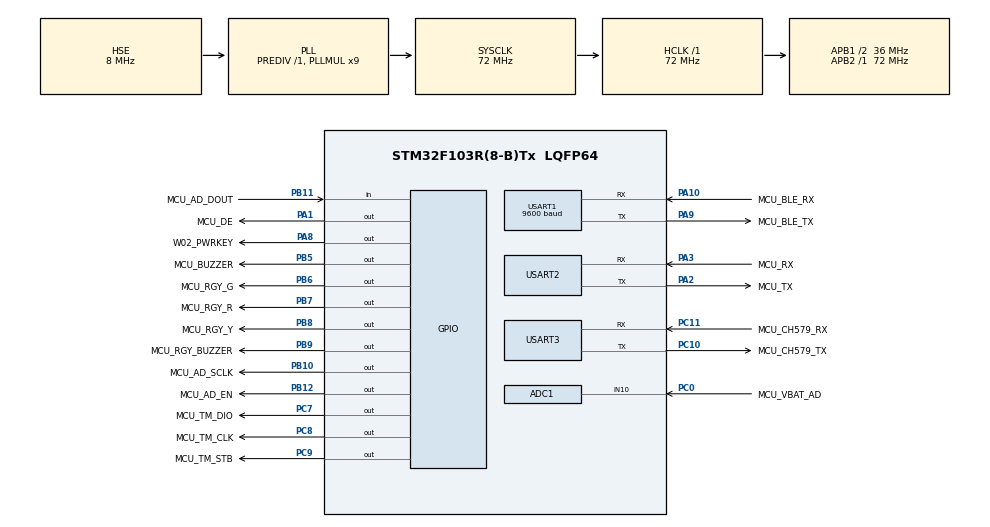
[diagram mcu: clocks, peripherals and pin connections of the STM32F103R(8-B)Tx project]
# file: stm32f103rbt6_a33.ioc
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ADC1.Channel-0\#ChannelRegularConversion=ADC_CHANNEL_10
ADC1.NbrOfConversionFlag=1
ADC1.Rank-0\#ChannelRegularConversion=1
ADC1.SamplingTime-0\#ChannelRegularConversion=ADC_SAMPLETIME_239CYCLES_5
ADC1.master=1
Dma.Request0=USART2_RX
Dma.Request1=USART2_TX
Dma.Request2=USART3_RX
Dma.Request3=USART3_TX
Dma.USART2_RX.0.Direction=DMA_PERIPH_TO_MEMORY
Dma.USART2_RX.0.Instance=DMA1_Channel6
Dma.USART2_RX.0.MemDataAlignment=DMA_MDATAALIGN_BYTE
Dma.USART2_RX.0.MemInc=DMA_MINC_ENABLE
Dma.USART2_RX.0.Mode=DMA_CIRCULAR
Dma.USART2_RX.0.PeriphDataAlignment=DMA_PDATAALIGN_BYTE
Dma.USART2_RX.0.PeriphInc=DMA_PINC_DISABLE
Dma.USART2_RX.0.Priority=DMA_PRIORITY_HIGH
Dma.USART2_TX.1.Direction=DMA_MEMORY_TO_PERIPH
Dma.USART2_TX.1.Instance=DMA1_Channel7
Dma.USART2_TX.1.MemDataAlignment=DMA_MDATAALIGN_BYTE
Dma.USART2_TX.1.MemInc=DMA_MINC_ENABLE
Dma.USART2_TX.1.Mode=DMA_NORMAL
Dma.USART2_TX.1.PeriphDataAlignment=DMA_PDATAALIGN_BYTE
Dma.USART2_TX.1.PeriphInc=DMA_PINC_DISABLE
Dma.USART2_TX.1.Priority=DMA_PRIORITY_MEDIUM
Dma.USART3_RX.2.Direction=DMA_PERIPH_TO_MEMORY
Dma.USART3_RX.2.Instance=DMA1_Channel3
Dma.USART3_RX.2.MemDataAlignment=DMA_MDATAALIGN_BYTE
Dma.USART3_RX.2.MemInc=DMA_MINC_ENABLE
Dma.USART3_RX.2.Mode=DMA_CIRCULAR
Dma.USART3_RX.2.PeriphDataAlignment=DMA_PDATAALIGN_BYTE
Dma.USART3_RX.2.PeriphInc=DMA_PINC_DISABLE
Dma.USART3_RX.2.Priority=DMA_PRIORITY_HIGH
Dma.USART3_TX.3.Direction=DMA_MEMORY_TO_PERIPH
Dma.USART3_TX.3.Instance=DMA1_Channel2
Dma.USART3_TX.3.MemDataAlignment=DMA_MDATAALIGN_BYTE
Dma.USART3_TX.3.MemInc=DMA_MINC_ENABLE
Dma.USART3_TX.3.Mode=DMA_NORMAL
Dma.USART3_TX.3.PeriphDataAlignment=DMA_PDATAALIGN_BYTE
Dma.USART3_TX.3.PeriphInc=DMA_PINC_DISABLE
Dma.USART3_TX.3.Priority=DMA_PRIORITY_MEDIUM
Mcu.Family=STM32F1
Mcu.Name=STM32F103R(8-B)Tx
Mcu.Package=LQFP64
NVIC.DMA1_Channel2_IRQn=true\:5\:0\:true\:false\:true\:false\:true\:true
NVIC.DMA1_Channel3_IRQn=true\:5\:0\:true\:false\:true\:false\:true\:true
NVIC.DMA1_Channel6_IRQn=true\:5\:0\:true\:false\:true\:false\:true\:true
NVIC.DMA1_Channel7_IRQn=true\:5\:0\:true\:false\:true\:false\:true\:true
NVIC.PriorityGroup=NVIC_PRIORITYGROUP_4
NVIC.TIM4_IRQn=true\:5\:0\:true\:false\:true\:true\:true\:true
NVIC.USART2_IRQn=true\:5\:0\:true\:false\:true\:true\:true\:true
NVIC.USART3_IRQn=true\:5\:0\:true\:false\:true\:true\:true\:true
PA1.GPIO_Label=MCU_DE
PA1.GPIO_PuPd=GPIO_NOPULL
PA1.GPIO_Speed=GPIO_SPEED_FREQ_LOW
PA1.PinState=GPIO_PIN_RESET
PA1.Signal=GPIO_Output
PA10.GPIO_Label=MCU_BLE_RX
PA10.Mode=Asynchronous
PA10.Signal=USART1_RX
PA13.Mode=Serial_Wire
PA13.Signal=SYS_JTMS-SWDIO
PA14.Mode=Serial_Wire
PA14.Signal=SYS_JTCK-SWCLK
PA2.GPIO_Label=MCU_TX
PA2.Mode=Asynchronous
PA2.Signal=USART2_TX
PA3.GPIO_Label=MCU_RX
PA3.Mode=Asynchronous
PA3.Signal=USART2_RX
PA8.GPIO_Label=W02_PWRKEY
PA8.GPIO_ModeDefaultOutputPP=GPIO_MODE_OUTPUT_OD
PA8.GPIO_PuPd=GPIO_NOPULL
PA8.GPIO_Speed=GPIO_SPEED_FREQ_LOW
PA8.PinState=GPIO_PIN_SET
PA8.Signal=GPIO_Output
PA9.GPIO_Label=MCU_BLE_TX
PA9.Mode=Asynchronous
PA9.Signal=USART1_TX
PB10.GPIO_Label=MCU_AD_SCLK
PB10.GPIO_ModeDefaultOutputPP=GPIO_MODE_OUTPUT_OD
PB10.GPIO_PuPd=GPIO_NOPULL
PB10.GPIO_Speed=GPIO_SPEED_FREQ_LOW
PB10.PinState=GPIO_PIN_RESET
PB10.Signal=GPIO_Output
PB11.GPIO_Label=MCU_AD_DOUT
PB11.GPIO_PuPd=GPIO_NOPULL
PB11.Signal=GPIO_Input
PB12.GPIO_Label=MCU_AD_EN
PB12.GPIO_PuPd=GPIO_NOPULL
PB12.GPIO_Speed=GPIO_SPEED_FREQ_LOW
PB12.PinState=GPIO_PIN_RESET
PB12.Signal=GPIO_Output
PB5.GPIO_Label=MCU_BUZZER
PB5.GPIO_PuPd=GPIO_NOPULL
PB5.GPIO_Speed=GPIO_SPEED_FREQ_LOW
PB5.PinState=GPIO_PIN_RESET
PB5.Signal=GPIO_Output
PB6.GPIO_Label=MCU_RGY_G
PB6.GPIO_PuPd=GPIO_NOPULL
PB6.GPIO_Speed=GPIO_SPEED_FREQ_LOW
PB6.PinState=GPIO_PIN_RESET
PB6.Signal=GPIO_Output
PB7.GPIO_Label=MCU_RGY_R
PB7.GPIO_PuPd=GPIO_NOPULL
PB7.GPIO_Speed=GPIO_SPEED_FREQ_LOW
PB7.PinState=GPIO_PIN_RESET
PB7.Signal=GPIO_Output
PB8.GPIO_Label=MCU_RGY_Y
PB8.GPIO_PuPd=GPIO_NOPULL
PB8.GPIO_Speed=GPIO_SPEED_FREQ_LOW
PB8.PinState=GPIO_PIN_RESET
PB8.Signal=GPIO_Output
PB9.GPIO_Label=MCU_RGY_BUZZER
PB9.GPIO_PuPd=GPIO_NOPULL
PB9.GPIO_Speed=GPIO_SPEED_FREQ_LOW
PB9.PinState=GPIO_PIN_RESET
PB9.Signal=GPIO_Output
PC0.GPIO_Label=MCU_VBAT_AD
PC0.Signal=ADCx_IN10
PC10.GPIO_Label=MCU_CH579_TX
PC10.Mode=Asynchronous
PC10.Signal=USART3_TX
PC11.GPIO_Label=MCU_CH579_RX
PC11.Mode=Asynchronous
PC11.Signal=USART3_RX
PC7.GPIO_Label=MCU_TM_DIO
PC7.GPIO_ModeDefaultOutputPP=GPIO_MODE_OUTPUT_OD
PC7.GPIO_PuPd=GPIO_NOPULL
PC7.GPIO_Speed=GPIO_SPEED_FREQ_LOW
PC7.PinState=GPIO_PIN_SET
PC7.Signal=GPIO_Output
PC8.GPIO_Label=MCU_TM_CLK
PC8.GPIO_ModeDefaultOutputPP=GPIO_MODE_OUTPUT_OD
PC8.GPIO_PuPd=GPIO_NOPULL
PC8.GPIO_Speed=GPIO_SPEED_FREQ_LOW
PC8.PinState=GPIO_PIN_SET
PC8.Signal=GPIO_Output
PC9.GPIO_Label=MCU_TM_STB
PC9.GPIO_ModeDefaultOutputPP=GPIO_MODE_OUTPUT_OD
PC9.GPIO_PuPd=GPIO_NOPULL
PC9.GPIO_Speed=GPIO_SPEED_FREQ_LOW
PC9.PinState=GPIO_PIN_SET
PC9.Signal=GPIO_Output
PD0-OSC_IN.Mode=HSE-External-Oscillator
PD0-OSC_IN.Signal=RCC_OSC_IN
PD1-OSC_OUT.Mode=HSE-External-Oscillator
PD1-OSC_OUT.Signal=RCC_OSC_OUT
ProjectManager.HeapSize=0x200
ProjectManager.StackSize=0x400
ProjectManager.TargetToolchain=CMake
RCC.ADCPresc=RCC_ADCPCLK2_DIV6
RCC.AHBFreq_Value=72000000
RCC.APB1CLKDivider=RCC_HCLK_DIV2
RCC.APB1Freq_Value=36000000
RCC.APB1TimFreq_Value=72000000
RCC.APB2Freq_Value=72000000
RCC.APB2TimFreq_Value=72000000
RCC.HCLKFreq_Value=72000000
RCC.PLLMUL=RCC_PLL_MUL9
RCC.PLLSourceVirtual=RCC_PLLSOURCE_HSE
RCC.SYSCLKFreq_VALUE=72000000
RCC.SYSCLKSource=RCC_SYSCLKSOURCE_PLLCLK
RCC.USBFreq_Value=72000000
SH.ADCx_IN10.0=ADC1_IN10,IN10
TIM4.Period=65535
TIM4.Prescaler=71
USART1.BaudRate=9600
USART1.VirtualMode=VM_ASYNC
USART2.VirtualMode=VM_ASYNC
USART3.VirtualMode=VM_ASYNC
VP_TIM4_VS_ClockSourceINT.Mode=Internal
board=custom

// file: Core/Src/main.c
/* USER CODE BEGIN Header */
/**
  ******************************************************************************
  * @file           : main.c
  * @brief          : Main program body
  ******************************************************************************
  * @attention
  *
  * Copyright (c) 2026 STMicroelectronics.
  * All rights reserved.
  *
  * This software is licensed under terms that can be found in the LICENSE file
  * in the root directory of this software component.
  * If no LICENSE file comes with this software, it is provided AS-IS.
  *
  ******************************************************************************
  */
/* USER CODE END Header */
#include "main.h"
#include "adc.h"
#include "dma.h"
#include "tim.h"
#include "usart.h"
#include "gpio.h"

/* USER CODE BEGIN Includes */
#include "app_main.h"
#if (A33_ENABLE_STAGE5PA13DR_RESOURCES != 0U)
#include "stage5pa13dr_stats.h"
#elif (A33_ENABLE_STAGE5PA13D_RESOURCES != 0U)
#include "stage5pa13d_resources.h"
#endif

/* USER CODE END Includes */

void SystemClock_Config(void);

int main(void)
{

  /* MCU Configuration--------------------------------------------------------*/

  /* Reset of all peripherals, Initializes the Flash interface and the Systick. */
  HAL_Init();

  /* Configure the system clock */
  SystemClock_Config();

  /* USER CODE BEGIN SysInit */

  __HAL_FLASH_PREFETCH_BUFFER_ENABLE();

  /* USER CODE END SysInit */

  /* Initialize all configured peripherals */
  MX_GPIO_Init();
  MX_DMA_Init();
  MX_USART1_UART_Init();
  MX_USART2_UART_Init();
  MX_USART3_UART_Init();
  MX_ADC1_Init();
  MX_TIM4_Init();
  /* USER CODE BEGIN 2 */

  if (HAL_ADCEx_Calibration_Start(&hadc1) != HAL_OK)
  {
    Error_Handler();
  }

  if (!App_Init())
  {
    Error_Handler();
  }
#if (A33_ENABLE_STAGE5PA13DR_RESOURCES != 0U)
  if (!A13DR_Init()) Error_Handler();
  A13DR_PaintStack();
#elif (A33_ENABLE_STAGE5PA13D_RESOURCES != 0U)
  A13D_Init();
  A13D_PaintStack();
#endif

  /* USER CODE END 2 */

  /* Infinite loop */
  while (1)
  {

    /* USER CODE BEGIN 3 */
#if (A33_ENABLE_STAGE5PA13DR_RESOURCES != 0U)
    uint32_t a13dr_loop_start = A13DR_LoopBegin();
#elif (A33_ENABLE_STAGE5PA13D_RESOURCES != 0U)
    uint32_t a13d_loop_start = A13D_LoopBegin();
#endif
    App_Run();
#if (A33_ENABLE_STAGE5PA13DR_RESOURCES != 0U)
    A13DR_LoopEnd(a13dr_loop_start);
#elif (A33_ENABLE_STAGE5PA13D_RESOURCES != 0U)
    A13D_LoopEnd(a13d_loop_start);
#endif
  }
  /* USER CODE END 3 */
}

void SystemClock_Config(void)
{
  RCC_OscInitTypeDef RCC_OscInitStruct = {0};
  RCC_ClkInitTypeDef RCC_ClkInitStruct = {0};
  RCC_PeriphCLKInitTypeDef PeriphClkInit = {0};

  /** Initializes the RCC Oscillators according to the specified parameters
  * in the RCC_OscInitTypeDef structure.
  */
  RCC_OscInitStruct.OscillatorType = RCC_OSCILLATORTYPE_HSE;
  RCC_OscInitStruct.HSEState = RCC_HSE_ON;
  RCC_OscInitStruct.HSEPredivValue = RCC_HSE_PREDIV_DIV1;
  RCC_OscInitStruct.HSIState = RCC_HSI_ON;
  RCC_OscInitStruct.PLL.PLLState = RCC_PLL_ON;
  RCC_OscInitStruct.PLL.PLLSource = RCC_PLLSOURCE_HSE;
  RCC_OscInitStruct.PLL.PLLMUL = RCC_PLL_MUL9;
  if (HAL_RCC_OscConfig(&RCC_OscInitStruct) != HAL_OK)
  {
    Error_Handler();
  }

  /** Initializes the CPU, AHB and APB buses clocks
  */
  RCC_ClkInitStruct.ClockType = RCC_CLOCKTYPE_HCLK|RCC_CLOCKTYPE_SYSCLK
                              |RCC_CLOCKTYPE_PCLK1|RCC_CLOCKTYPE_PCLK2;
  RCC_ClkInitStruct.SYSCLKSource = RCC_SYSCLKSOURCE_PLLCLK;
  RCC_ClkInitStruct.AHBCLKDivider = RCC_SYSCLK_DIV1;
  RCC_ClkInitStruct.APB1CLKDivider = RCC_HCLK_DIV2;
  RCC_ClkInitStruct.APB2CLKDivider = RCC_HCLK_DIV1;

  if (HAL_RCC_ClockConfig(&RCC_ClkInitStruct, FLASH_LATENCY_2) != HAL_OK)
  {
    Error_Handler();
  }
  PeriphClkInit.PeriphClockSelection = RCC_PERIPHCLK_ADC;
  PeriphClkInit.AdcClockSelection = RCC_ADCPCLK2_DIV6;
  if (HAL_RCCEx_PeriphCLKConfig(&PeriphClkInit) != HAL_OK)
  {
    Error_Handler();
  }
}

void Error_Handler(void)
{
  __disable_irq();
  while (1)
  {
  }
}
